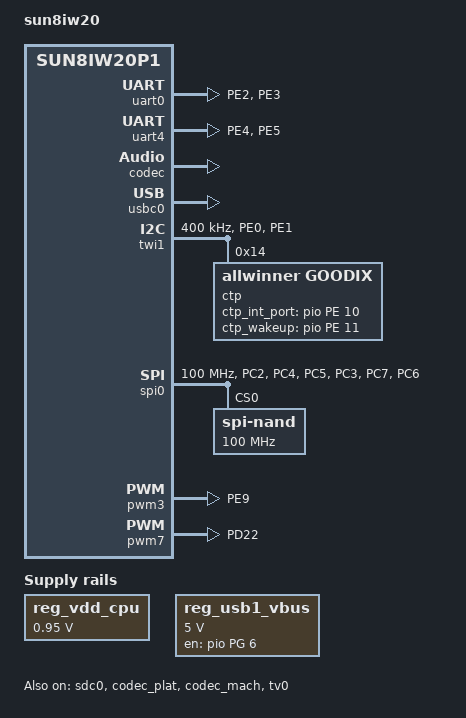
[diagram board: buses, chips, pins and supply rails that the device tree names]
/*
 * Allwinner Technology CO., Ltd.
 */

/dts-v1/;

#include "sun8iw20p1.dtsi"

/{
	model = "sun8iw20";
	compatible = "allwinner,t113", "arm,sun8iw20p1";

	reserved-memory {
		#address-cells = <2>;
		#size-cells = <2>;
		ranges;

/*
		dsp0_rpbuf_reserved: dsp0_rpbuf@42244000 {
			compatible = "shared-dma-pool";
			no-map;
			reg = <0x0 0x42244000 0x0 0x8000>;
		};

		dsp0ddr: dsp0ddr@42000000 {
			reg = <0x0 0x42000000 0x0 0x00100000>;
			no-map;
		};
*/

		/*
		 * The name should be "vdev%dbuffer".
		 * Its size should be not less than
		 *     RPMSG_BUF_SIZE * (num of buffers in a vring) * 2
		 *   = 512 * (num of buffers in a vring) * 2
		 */
/*
		vdev0buffer: vdev0buffer@42200000 {
			compatible = "shared-dma-pool";
			reg = <0x0 0x42200000 0x0 0x40000>;
			no-map;
		};
*/

		/*
		 * The name should be "vdev%dvring%d".
		 * The size of each should be not less than
		 *     PAGE_ALIGN(vring_size(num, align))
		 *   = PAGE_ALIGN(16 * num + 6 + 2 * num + (pads for align) + 6 + 8 * num)
		 *
		 * (Please refer to the vring layout in include/uapi/linux/virtio_ring.h)
		 */
/*
		vdev0vring0: vdev0vring0@42240000 {
			reg = <0x0 0x42240000 0x0 0x2000>;
			no-map;
		};
		vdev0vring1: vdev0vring1@42242000 {
			reg = <0x0 0x42242000 0x0 0x2000>;
			no-map;
		};
*/

		/*
		* dsp ram addr
		*/
/*
		dsp0dram: dsp0dram@400000 {
			reg = <0x0 0x400000 0x0 0x10000>;
			no-map;
		};
		dsp0iram0: dsp0iram0@420000 {
			reg = <0x0 0x420000 0x0 0x8000>;
			no-map;
		};
		dsp0iram1: dsp0iram1@440000 {
			reg = <0x0 0x440000 0x0 0x8000>;
			no-map;
		};
		dsp_share_space@42100000 {
			no-map;
			reg = <0x0 0x42100000 0x0 0x10000>;
		};
*/

	};

	mailbox_heartbeat: mailbox_heartbeat@0 {
		compatible = "mailbox-heartbeat";
		rproc-np = <&dsp0_rproc>;
		mboxes = <&msgbox 2>, <&msgbox 3>;
		mbox-names = "tx", "rx";
		status = "disabled";
	};

	dsp0_rproc: dsp_rproc@0 {
		compatible = "allwinner,hifi4-rproc", "simple-bus";
		clock-frequency = <600000000>;
		clocks = <&ccu CLK_PLL_PERIPH0_2X>, <&ccu CLK_DSP>, <&ccu CLK_BUS_DSP_CFG>, <&r_ccu CLK_R_AHB>;
		clock-names = "pll", "mod", "cfg", "ahbs";
		resets = <&ccu RST_BUS_DSP>, <&ccu RST_BUS_DSP_CFG>, <&ccu RST_BUS_DSP_DBG>;
		reset-names = "mod-rst", "cfg-rst", "dbg-rst";
		reg = <0x0 0x03000008 0x0 0x04>,
		      <0x0 0x01700000 0x0 0x40>;
		reg-names = "sram-for-cpux", "hifi4-cfg";
		mboxes = <&msgbox 0>;
		mbox-names = "arm-kick";
		/*memory-region = <&dsp0ddr>, <&vdev0buffer>, <&vdev0vring0>, <&vdev0vring1>,*/
				/*<&dsp0dram>, <&dsp0iram0>, <&dsp0iram1>;*/
		memory-mappings =
			/* < DA		len		PA >	*/
			/* local SRAM via external bus */
			< 0x28000	0x20000		0x28000 >,
			/* local SRAM via internal bus */
			< 0x400000	0x10000		0x400000 >,
			< 0x420000	0x8000		0x420000 >,
			< 0x440000	0x8000		0x440000 >,
			/* DDR front 256MB */
			< 0x10000000	0x10000000	0x40000000 >,
			/* local SRAM via internal bus */
			< 0x20028000	0x10000		0x400000 >,
			< 0x20038000	0x8000		0x420000 >,
			< 0x20040000	0x8000		0x440000 >,
			/* DDR front 256MB */
			< 0x30000000	0x10000000	0x40000000 >,
			/* DDR front 1GB */
			< 0x40000000	0x40000000	0x40000000 >,
			/* DDR front 1GB */
			< 0x80000000	0x40000000	0x40000000 >,
			/* DDR front 1GB */
			< 0xC0000000	0x40000000	0x40000000 >;

		id = <0>;
		status = "disabled";

		/* driver config in dts for dsp0 */
		dsp0_system_resources: dsp_system_resources@0 {
			compatible = "allwinner,dsp-rproc-srm-core";
			status = "disabled";

			d_console_uart: d_console_uart@0 {
				compatible = "allwinner,dsp-rproc-srm-dev";
				status = "disabled";
			};

			d_gpio_interrupt: d_gpio_interrupt@0 {
				compatible = "allwinner,dsp-rproc-srm-dev";
				status = "disabled";
			};

			d_alsa_rpaf: d_alsa_rpaf@0 {
				compatible = "allwinner,dsp-rproc-srm-dev";
				status = "disabled";
			};
		};
	};

	rpbuf_controller0: rpbuf_controller@0 {
		compatible = "allwinner,rpbuf-controller";
		remoteproc = <&dsp0_rproc>;
		ctrl_id = <0>;	/* index of /dev/rpbuf_ctrl */
		//iommus = <&mmu_aw 5 1>;
		/*memory-region = <&dsp0_rpbuf_reserved>;*/
		status = "disabled";
	};

	rpbuf_sample: rpbuf_sample@0 {
		compatible = "allwinner,rpbuf-sample";
		rpbuf = <&rpbuf_controller0>;
		status = "disabled";
	};

	reg_vdd_cpu: vdd-cpu {
		compatible = "regulator-fixed";
		regulator-name = "vdd_cpu";
		regulator-min-microvolt = <950000>;
		regulator-max-microvolt = <950000>;
		regulator-always-on;
		regulator-boot-on;
		status = "okay";
	};

	reg_usb1_vbus: usb1-vbus {
		compatible = "regulator-fixed";
		regulator-name = "usb1-vbus";
		regulator-min-microvolt = <5000000>;
		regulator-max-microvolt = <5000000>;
		regulator-enable-ramp-delay = <1000>;
		gpio = <&pio PG 6 GPIO_ACTIVE_HIGH>;
		enable-active-high;
	};
};

&cpu0 {
	cpu-supply = <&reg_vdd_cpu>;
};

&pio {
	input-debounce = <0 0 0 0 0 1>;
	sdc0_pins_a: sdc0@0 {
		allwinner,pins = "PF1", "PF2", "PF3";
		allwinner,function = "sdc0";
		allwinner,muxsel = <2>;
		allwinner,drive = <3>;
		allwinner,pull = <1>;
		pins = "PF1", "PF2", "PF3";
		function = "sdc0";
		drive-strength = <30>;
		bias-pull-up;
		power-source = <3300>;
	};


	sdc0_pins_b: sdc0@1 {
		pins = "PF1", "PF2", "PF3";
		function = "sdc0";
		drive-strength = <30>;
		bias-pull-up;
		power-source = <1800>;
	};

	sdc0_pins_c: sdc0@2 {
		pins = "PF1", "PF2", "PF3";
		function = "gpio_in";
	};

	/* TODO: add jtag pin */
	sdc0_pins_d: sdc0@3 {
		pins = "PF2", "PF4";
		function = "uart0";
		drive-strength = <10>;
		bias-pull-up;
	};

	sdc0_pins_e: sdc0@4 {
		pins = "PF0", "PF1", "PF3",
			"PF5";
		function = "jtag";
		drive-strength = <10>;
		bias-pull-up;
	};


	sdc1_pins_a: sdc1@0 {
		pins = "PG0", "PG1", "PG2",
		       "PG3", "PG4", "PG5";
		function = "sdc1";
		drive-strength = <20>;
		bias-pull-up;
	};

	sdc1_pins_b: sdc1@1 {
		pins = "PG0", "PG1", "PG2",
		       "PG3", "PG4", "PG5";
			function = "gpio_in";
	};

	sdc2_pins_a: sdc2@0 {
		allwinner,pins = "PC2", "PC3", "PC4",
				 "PC5", "PC6", "PC7";
		allwinner,function = "sdc2";
		allwinner,muxsel = <3>;
		allwinner,drive = <3>;
		allwinner,pull = <1>;
		pins = "PC2", "PC3", "PC4",
			"PC5", "PC6", "PC7";
		function = "sdc2";
		drive-strength = <30>;
		bias-pull-up;
	};

	sdc2_pins_b: sdc2@1 {
		pins = "PC2", "PC3", "PC4",
		       "PC5", "PC6", "PC7";
		function = "gpio_in";
	};

	wlan_pins_a:wlan@0 {
		pins = "PG11";
		function = "clk_fanout1";
	};

        uart0_pins_a: uart0_pins@0 {  /* For EVB1 board */
		pins = "PE2", "PE3";
                function = "uart0";
                drive-strength = <10>;
                bias-pull-up;
        };

        uart0_pins_b: uart0_pins@1 {  /* For EVB1 board */
		pins = "PE2", "PE3";
                function = "gpio_in";
        };

	uart1_pins_a: uart1_pins@0 {  /* For EVB1 board */
		pins = "PG6", "PG7", "PG8", "PG9";
		function = "uart1";
		drive-strength = <10>;
		bias-pull-up;
	};

	uart1_pins_b: uart1_pins {  /* For EVB1 board */
		pins = "PG6", "PG7", "PG8", "PG9";
		function = "gpio_in";
	};

	uart2_pins_a: uart2_pins@0 {  /* For EVB1 board */
		pins = "PC0", "PC1";
		function = "uart2";
		drive-strength = <10>;
		bias-pull-up;
	};

	uart2_pins_b: uart2_pins@1 {  /* For EVB1 board */
		pins = "PC0", "PC1";
		function = "gpio_in";
	};

	uart3_pins_a: uart3_pins@0 {  /* For EVB1 board */
		pins = "PD10", "PD11";
		function = "uart3";
		muxsel = <5>;
		drive-strength = <10>;
		bias-pull-up;
	};

	uart4_pins_a: uart4_pins@0 {
		pins = "PE4", "PE5";
		function = "uart4";
		drive-strength = <10>;
		bias-pull-up;
	};

	uart4_pins_b: uart4_pins@1 {
		pins = "PE4", "PE5";
		function = "gpio_in";
	};

	twi0_pins_a: twi0@0 {
		pins = "PB10", "PB11";	/*sck sda*/
		function = "twi0";
		drive-strength = <10>;
	};

	twi0_pins_b: twi0@1 {
		pins = "PB10", "PB11";
		function = "gpio_in";
	};

	twi1_pins_a: twi1@0 {
		pins = "PE0", "PE1";
		function = "twi1";
		drive-strength = <10>;
	};

	twi1_pins_b: twi1@1 {
		pins = "PE0", "PE1";
		function = "gpio_in";
	};

        twi2_pins_a: twi2@0 {
                pins = "PE12", "PE13";
                function = "twi2";
                drive-strength = <10>;
        };

        twi2_pins_b: twi2@1 {
                pins = "PE12", "PE13";
                function = "gpio_in";
        };

	twi3_pins_a: twi3@0 {
		pins = "PE6", "PE7";
		function = "twi3";
		drive-strength = <10>;
	};

	twi3_pins_b: twi3@1 {
		pins = "PE6", "PE7";
		function = "gpio_in";
	};

	gmac_pins_a: gmac@0 {
		pins = "PE0", "PE1", "PE2", "PE3",
		       "PE4", "PE5", "PE6", "PE7",
		       "PE8", "PE9", "PE10", "PE11",
		       "PE12", "PE13", "PE14", "PE15";
		function = "gmac0";
		drive-strength = <10>;
	};

	gmac_pins_b: gmac@1 {
		pins = "PE0", "PE1", "PE2", "PE3",
		       "PE4", "PE5", "PE6", "PE7",
		       "PE8", "PE9", "PE10", "PE11",
		       "PE12", "PE13", "PE14", "PE15";
		function = "gpio_in";
	};

	dmic_pins_a: dmic@0 {
		/* DMIC_PIN: CLK, DATA0, DATA1, DATA2, DATA3*/
		pins = "PB12", "PB11", "PB10", "PE14", "PB8";
		function = "dmic";
		drive-strength = <20>;
		bias-disable;
	};

	dmic_pins_b: dmic@1 {
		pins = "PB12", "PB11", "PB10", "PE14", "PB8";
		function = "io_disabled";
		drive-strength = <20>;
		bias-disable;
	};

	i2s0_pins_a: i2s0@0 {
		pins = "PE17", "PE16", "PE15", "PE14", "PE13";
		function = "i2s0";
		drive-strength = <20>;
		bias-disable;
	};

	i2s0_pins_b: i2s0_sleep@0 {
		pins = "PE17", "PE16", "PE15", "PE14", "PE13";
		function = "io_disabled";
		drive-strength = <20>;
		bias-disable;
	};

	i2s1_pins_a: i2s1@0 {
		pins = "PG11", "PG12", "PG13", "PG14", "PG15";
		function = "i2s1";
		drive-strength = <20>;
		bias-disable;
	};

	i2s1_pins_b: i2s1_sleep@0 {
		pins = "PG11", "PG12", "PG13", "PG14", "PG15";
		function = "io_disabled";
		drive-strength = <20>;
		bias-disable;
	};

	i2s2_pins_a: i2s2@0 {
		/* I2S_PIN: MCLK, BCLK, LRCK */
		pins = "PF6", "PF3", "PF5";
		function = "i2s2";
		drive-strength = <20>;
		bias-disable;
	};

	i2s2_pins_b: i2s2@1 {
		/* I2S_PIN: DOUT0 */
		pins = "PF1";
		function = "i2s2_dout";
		drive-strength = <20>;
		bias-disable;
	};

	i2s2_pins_c: i2s2@2 {
		/* I2S_PIN: DIN0 */
		pins = "PF0";
		function = "i2s2_din";
		drive-strength = <20>;
		bias-disable;
	};

	i2s2_pins_d: i2s2_sleep@0 {
		pins = "PF6", "PF3", "PF5", "PF1", "PF0";
		function = "io_disabled";
		drive-strength = <20>;
		bias-disable;
	};

	owa_pins_a: owa@0 {
		/* SPDIF_PIN: SPDIF_OUT */
		pins = "PG18";
		function = "spdif";
		drive-strength = <20>;
		bias-disable;
	};

	owa_pins_b: owa_sleep@0 {
		pins = "PG18";
		function = "io_disabled";
		drive-strength = <20>;
		bias-disable;
	};

	spi0_pins_a: spi0@0 {
		pins = "PC2", "PC4", "PC5"; /* clk, mosi, miso */
		function = "spi0";
		muxsel = <2>;
		drive-strength = <20>;
	};

	spi0_pins_b: spi0@1 {
		pins = "PC3", "PC7", "PC6";
		function = "spi0";
		muxsel = <2>;
		drive-strength = <20>;
		bias-pull-up;   /* cs, hold, wp should be pulled up */
	};

	spi0_pins_c: spi0@2 {
		pins = "PC2", "PC3", "PC4", "PC5","PC6", "PC7";
		function = "gpio_in";
		muxsel = <0>;
		drive-strength = <10>;
	};

	spi1_pins_a: spi1@0 {
		pins = "PD11", "PD12", "PD13"; /* clk, mosi, miso */
		function = "spi1";
		drive-strength = <10>;
	};

	spi1_pins_b: spi1@1 {
		pins = "PD10", "PD14", "PD15";
		function = "spi1";
		drive-strength = <10>;
		bias-pull-up;   /* cs, hold, wp should be pulled up */
	};

	spi1_pins_c: spi1@2 {
		pins = "PD10", "PD11", "PD12", "PD13","PD14", "PD15";
		function = "gpio_in";
		drive-strength = <10>;
	};

	ledc_pins_a: ledc@0 {
		pins = "PC0";
		function = "ledc";
		drive-strength = <10>;
	};

	ledc_pins_b: ledc@1 {
		pins = "PC0";
		function = "gpio_in";
	};

	pwm0_pin_a: pwm0@0 {
		pins = "PD16";
		function = "pwm0";
		drive-strength = <10>;
		bias-pull-up;
	};

	pwm0_pin_b: pwm0@1 {
		pins = "PD16";
		function = "gpio_in";
		bias-disable;
	};

	pwm2_pin_a: pwm2@0 {
		pins = "PD18";
		function = "pwm2";
		drive-strength = <10>;
		bias-pull-up;
	};

	pwm2_pin_b: pwm2@1 {
		pins = "PD18";
		function = "gpio_out";
	};

	pwm3_pin_a: pwm3@0 {
		pins = "PE9";
		function = "pwm3";
		drive-strength = <10>;
		bias-pull-up;
	};

	pwm3_pin_b: pwm3@1 {
		pins = "PE9";
		function = "gpio_out";
	};

	pwm7_pin_a: pwm7@0 {
		pins = "PD22";
		function = "pwm7";
		muxsel = <0x5>;
		drive-strength = <10>;
		bias-pull-up;
	};

	pwm7_pin_b: pwm7@1 {
		pins = "PD22";
		function = "gpio_in";
	};


	s_cir0_pins_a: s_cir@0 {
		pins = "PB7";
		function = "ir";
		drive-strength = <10>;
		bias-pull-up;
	};

	s_cir0_pins_b: s_cir@1 {
		pins = "PB7";
		function = "gpio_in";
	};

	ir1_pins_a: ir1@0 {
		pins = "PB0";
		function = "ir";
		drive-strength = <10>;
		bias-pull-up;
	};

	ir1_pins_b: ir1@1 {
		pins = "PB0";
		function = "gpio_in";
	};

	csi0_pins_a: csi0@0 {
		pins = "PE2", "PE4", "PE5",
				"PE6", "PE7", "PE8", "PE9", "PE10", "PE11";
		function = "ncsi0";
		drive-strength = <10>;
	};

	csi0_pins_b: csi0@1 {
		pins = "PE2", "PE4", "PE5",
				"PE6", "PE7", "PE8", "PE9", "PE10", "PE11";
		function = "io_disabled";
		drive-strength = <10>;
	};
};

&uart0 {
	pinctrl-names = "default", "sleep";
	pinctrl-0 = <&uart0_pins_a>;
	pinctrl-1 = <&uart0_pins_b>;
	status = "okay";
};

&uart1 {
	pinctrl-names = "default", "sleep";
	pinctrl-0 = <&uart1_pins_a>;
	pinctrl-1 = <&uart1_pins_b>;
	status = "disabled";
};

&uart2 {
	pinctrl-names = "default", "sleep";
	pinctrl-0 = <&uart2_pins_a>;
	pinctrl-1 = <&uart2_pins_b>;
	status = "disabled";
};

&uart3 {
	compatible = "allwinner,sun20iw1-dsp-uart";
	pinctrl-names = "default", "sleep";
	pinctrl-0 = <&uart3_pins_a>;
	pinctrl-1 = <&uart3_pins_a>;
	status = "disabled";
};

&uart4 {
	pinctrl-names = "default", "sleep";
	pinctrl-0 = <&uart4_pins_a>;
	pinctrl-1 = <&uart4_pins_b>;
	status = "okay";
};

&soc {
	card0_boot_para@2 {
		/*
		 * Avoid dtc compiling warnings.
		 * @TODO: Developer should modify this to the actual value
		 */
		reg = <0x0 0x2 0x0 0x0>;
		device_type = "card0_boot_para";
		card_ctrl = <0x0>;
		card_high_speed = <0x1>;
		card_line = <0x1>;
		pinctrl-0 = <&sdc0_pins_a>;
	};

	card2_boot_para@3 {
		/*
		 * Avoid dtc compiling warnings.
		 * @TODO: Developer should modify this to the actual value
		 */
		reg = <0x0 0x3 0x0 0x0>;
		device_type = "card2_boot_para";
		card_ctrl = <0x2>;
		card_high_speed = <0x1>;
		card_line = <0x4>;
		pinctrl-0 = <&sdc2_pins_a>;
		/*pinctrl-0 = <&sdc0_pins_a>;*/
		/*sdc_ex_dly_used = <0x2>;*/
		sdc_io_1v8 = <0x1>;
		/*sdc_type = "tm4";*/
		sdc_tm4_hs200_max_freq = <150>;
		sdc_tm4_hs400_max_freq = <100>;
		sdc_ex_dly_used = <2>;
		/*sdc_tm4_win_th = <8>;*/
		/*sdc_dis_host_caps = <0x180>;*/
	};

	rfkill: rfkill@0 {
		compatible    = "allwinner,sunxi-rfkill";
		chip_en;
		power_en;
		pinctrl-0 = <&wlan_pins_a>;
		pinctrl-names = "default";
		status        = "disabled";

		wlan: wlan@0 {
			compatible    = "allwinner,sunxi-wlan";
			clock-names = "32k-fanout1";
			clocks = <&ccu CLK_FANOUT1_OUT>;
			wlan_busnum    = <0x1>;
			wlan_regon    = <&pio PE 3 GPIO_ACTIVE_HIGH>;
			wlan_hostwake  = <&pio PG 10 GPIO_ACTIVE_HIGH>;
			/*wlan_power    = "VCC-3V3";*/
			/*wlan_power_vol = <3300000>;*/
			/*interrupt-parent = <&pio>;
			interrupts = < PG 10 IRQ_TYPE_LEVEL_HIGH>;*/
			wakeup-source;

		};

		bt: bt@0 {
			compatible    = "allwinner,sunxi-bt";
			clock-names = "32k-fanout1";
			clocks = <&ccu CLK_FANOUT1_OUT>;
			/*bt_power_num = <0x01>;*/
			/*bt_power      = "axp803-dldo1";*/
			/*bt_io_regulator = "axp803-dldo1";*/
			/*bt_io_vol = <3300000>;*/
			/*bt_power_vol = <330000>;*/
			bt_rst_n      = <&pio PE 2 GPIO_ACTIVE_LOW>;
			status        = "okay";
		};
	};

	btlpm: btlpm@0 {
		compatible  = "allwinner,sunxi-btlpm";
		uart_index  = <0x1>;
		bt_wake     = <&pio PE 1 GPIO_ACTIVE_HIGH>;
		bt_hostwake = <&pio PE 0 GPIO_ACTIVE_HIGH>;
		status      = "disabled";
	};

	addr_mgt: addr_mgt@0 {
		compatible     = "allwinner,sunxi-addr_mgt";
		type_addr_wifi = <0x0>;
		type_addr_bt   = <0x0>;
		type_addr_eth  = <0x0>;
		status         = "disabled";
	};
};


&vind0 {
	status = "disabled";
};

&sdc2 {
	non-removable;
	bus-width = <4>;
	mmc-ddr-1_8v;
	mmc-hs200-1_8v;
	no-sdio;
	no-sd;
	ctl-spec-caps = <0x308>;
	cap-mmc-highspeed;
	sunxi-power-save-mode;
	sunxi-dis-signal-vol-sw;
	mmc-bootpart-noacc;
	max-frequency = <150000000>;
	/*vmmc-supply = <&reg_dcdc1>;*/
	/*emmc io vol 3.3v*/
	/*vqmmc-supply = <&reg_aldo1>;*/
	/*emmc io vol 1.8v*/
	/*vqmmc-supply = <&reg_eldo1>;*/
	status = "disabled";
};

&sdc0 {
	bus-width = <1>;
	cd-gpios = <&pio PF 6 (GPIO_ACTIVE_LOW | GPIO_PULL_UP)>;
	/*non-removable;*/
	/*broken-cd;*/
	/*cd-inverted;*/
	/*data3-detect;*/
	/*card-pwr-gpios = <&pio PH 14 1 1 2 0xffffffff>;*/
	cd-used-24M;
	cap-sd-highspeed;
	/*sd-uhs-sdr50;*/
	/*sd-uhs-ddr50;*/
	/*sd-uhs-sdr104;*/
	no-sdio;
	no-mmc;
	sunxi-power-save-mode;
	/*sunxi-dis-signal-vol-sw;*/
	max-frequency = <150000000>;
	ctl-spec-caps = <0x8>;
	/*vmmc-supply = <&reg_dcdc1>;*/
	/*vqmmc33sw-supply = <&reg_dcdc1>;*/
	/*vdmmc33sw-supply = <&reg_dcdc1>;*/
	/*vqmmc18sw-supply = <&reg_eldo1>;*/
	/*vdmmc18sw-supply = <&reg_eldo1>;*/
	status = "okay";
};

&sdc1 {
	bus-width = <4>;
	no-mmc;
	no-sd;
	cap-sd-highspeed;
	/*sd-uhs-sdr12*/
	/*sd-uhs-sdr25;*/
	/*sd-uhs-sdr50;*/
	/*sd-uhs-ddr50;*/
	/*sd-uhs-sdr104;*/
	/*sunxi-power-save-mode;*/
	/*sunxi-dis-signal-vol-sw;*/
	cap-sdio-irq;
	keep-power-in-suspend;
	ignore-pm-notify;
	max-frequency = <150000000>;
	ctl-spec-caps = <0x8>;
	status = "disabled";
};


/*
tvd configuration
used                   (create device, 0: do not create device, 1: create device)
agc_auto_enable        (0: agc manual mode,agc_manual_value is valid; 1: agc auto mode)
agc_manual_value       (agc manual value, default value is 64)
cagc_enable            (cagc        0: disable, 1: enable)
fliter_used            (3d fliter   0: disable, 1: enable)
support two PMU power  (tvd_power0, tvd_power1)
support two GPIO power (tvd_gpio0, tvd_gpio1)
NOTICE: If tvd need pmu power or gpio power,params need be configured under [tvd]
tvd_sw                 (the switch of all tvd driver.)
tvd_interface          (0: cvbs, 1: ypbpr,)
tvd_format             (0:TVD_PL_YUV420 , 1: MB_YUV420, 2: TVD_PL_YUV422)
tvd_system             (0:ntsc, 1:pal)
tvd_row                (total row number in multi channel mode 1-2)
tvd_column             (total column number in multi channel mode 1-2)
tvd_channelx_en        (0:disable, 1~4:position in multi channel mode,In single channel
                       mode,mean enable)
tvd_row*tvd_column is the total tvd channel number to be used in multichannel mode
+--------------------+--------------------+
|                    |                    |
|                    |                    |
|         1          |         2          |
|                    |                    |
|                    |                    |
+--------------------+--------------------+
|                    |                    |
|                    |                    |
|         3          |         4          |
|                    |                    |
|                    |                    |
+--------------------+--------------------+
*/

&tvd {
	tvd_sw          = <1>;
	tvd_interface   = <0>;
	tvd_format      = <0>;
	tvd_system      = <1>;
	tvd_row         = <1>;
	tvd_column      = <1>;
	tvd_channel0_en = <1>;
	tvd_channel1_en = <0>;
	tvd_channel2_en = <0>;
	tvd_channel3_en = <0>;
	/*tvd_gpio0 = <&pio PD 22 GPIO_ACTIVE_HIGH>;*/
	/*tvd_gpio1 = <&pio PD 23 GPIO_ACTIVE_HIGH>;*/
	/*tvd_gpio2 = <&pio PD 24 GPIO_ACTIVE_HIGH>;*/
	/*	dc1sw-supply = <&reg_dc1sw>;*/
	/*	eldo3-supply = <&reg_eldo3>;*/
	/*tvd_power0      = "dc1sw"*/
	/*tvd_power1      = "eldo3"*/
};

&tvd0 {
	used                    = <1>;
	agc_auto_enable         = <1>;
	agc_manual_value        = <64>;
	cagc_enable             = <1>;
	fliter_used             = <1>;
};

/* Audio Driver modules */
&i2s0_plat {
	tdm-num		= <0>;
	tx-pin		= <0>;
	rx-pin		= <0>;
	/*pinctrl-used;
	pinctrl-names	= "default","sleep";
	pinctrl-0	= <&i2s0_pins_a>;
	pinctrl-1	= <&i2s0_pins_b>; */
	tx-hub-en;
	rx-sync-en;
	status		= "disabled";
};

&i2s0_mach {
	soundcard-mach,format		= "i2s";
	soundcard-mach,frame-master	= <&i2s0_cpu>;
	soundcard-mach,bitclock-master	= <&i2s0_cpu>;
	/* soundcard-mach,frame-inversion; */
	/* soundcard-mach,bitclock-inversion; */
	soundcard-mach,slot-num		= <2>;
	soundcard-mach,slot-width	= <32>;
	soundcard-mach,capture-only;
	status		= "disabled";
	i2s0_cpu: soundcard-mach,cpu {
		sound-dai = <&i2s0_plat>;
		soundcard-mach,pll-fs	= <1>;
		soundcard-mach,mclk-fs	= <0>;
	};
	i2s0_codec: soundcard-mach,codec {
	};
};

&i2s1_plat {
	tdm-num		= <1>;
	tx-pin		= <0>;
	rx-pin		= <0>;
	/* pinctrl-used; */
	/* pinctrl-names= "default","sleep"; */
	/* pinctrl-0	= <&i2s1_pins_a>; */
	/* pinctrl-1	= <&i2s1_pins_b>; */
	tx-hub-en;
	rx-sync-en;
	status		= "disabled";
};

&i2s1_mach {
	soundcard-mach,format		= "i2s";
	soundcard-mach,frame-master	= <&i2s1_cpu>;
	soundcard-mach,bitclock-master	= <&i2s1_cpu>;
	/* soundcard-mach,frame-inversion; */
	/* soundcard-mach,bitclock-inversion; */
	soundcard-mach,slot-num		= <2>;
	soundcard-mach,slot-width	= <32>;
	status		= "disabled";
	i2s1_cpu: soundcard-mach,cpu {
		sound-dai = <&i2s1_plat>;
		soundcard-mach,pll-fs	= <1>;
		soundcard-mach,mclk-fs	= <0>;
	};
	i2s1_codec: soundcard-mach,codec {
	};
};

&i2s2_plat {
	tdm-num		= <2>;
	tx-pin		= <0 1 2 3>;
/* e.g.
 * tx-pin0-map0 = <0xFEDC3210> -> tx_pin_map[0][0] (Dout0-slot[7:0]  map channel[15:12, 3:0])
 * tx-pin0-map1 = <0x3210FEDC> -> tx_pin_map[0][1] (Dout0-slot[15:8] map channel[3:0, 15:12])
 * tx-pin1-map0 = <0x76543210> -> tx_pin_map[1][0] (Dout1-slot[7:0]  map channel[7:0])
 */
	tx-pin0-map0	= <0x76543210>;
	tx-pin0-map1	= <0xFEDCBA98>;
	tx-pin1-map0	= <0x76543210>;
	tx-pin1-map1	= <0xFEDCBA98>;
	tx-pin2-map0	= <0x76543210>;
	tx-pin2-map1	= <0xFEDCBA98>;
	tx-pin3-map0	= <0x76543210>;
	tx-pin3-map1	= <0xFEDCBA98>;
	rx-pin		= <0>;
	/* pinctrl-used; */
	/* pinctrl-names= "default","sleep"; */
	/* pinctrl-0	= <&i2s2_pins_a>; */
	/* pinctrl-1	= <&i2s2_pins_b>; */
	tx-hub-en;
	rx-sync-en;
	/* edp not need dai-type */
	dai-type = "hdmi";
	status		= "disabled";
};

&i2s2_mach {
	soundcard-mach,format		= "i2s";
	soundcard-mach,frame-master	= <&i2s2_cpu>;
	soundcard-mach,bitclock-master	= <&i2s2_cpu>;
	/* soundcard-mach,frame-inversion; */
	/* soundcard-mach,bitclock-inversion; */
	soundcard-mach,slot-num		= <2>;
	soundcard-mach,slot-width	= <32>;
	soundcard-mach,playback-only;
	status		= "disabled";
	i2s2_cpu: soundcard-mach,cpu {
		sound-dai = <&i2s2_plat>;
		soundcard-mach,pll-fs	= <1>;
		/* edp mclk: 512fs */
		soundcard-mach,mclk-fs	= <0>;
	};
	i2s2_codec: soundcard-mach,codec {
		/* sound-dai               = <&hdmi_codec>; */
	};
};

&codec {
	/* avcc-external; */
	tx-hub-en;
	rx-sync-en;

	dac-vol		= <63>;		/* default value:63 range:0->63 */
	dacl-vol	= <160>;	/* default value:160 range:0->255 */
	dacr-vol	= <160>;	/* default value:160 range:0->255 */
	adc1-vol	= <160>;	/* default value:160 range:0->255 */
	adc2-vol	= <160>;	/* default value:160 range:0->255 */
	adc3-vol	= <160>;	/* default value:160 range:0->255 */
	lineout-vol	= <26>;		/* default value:31 range:0->31 */
	adc1-gain	= <31>;		/* default value:31 range:0->31 */
	adc2-gain	= <31>;		/* default value:31 range:0->31 */
	adc3-gain	= <31>;		/* default value:31 range:0->31 */
	hpout-gain	= <3>;		/* default value:7 range:0->7 */
	fminl-gain	= <0>;		/* default value:0 range:0->1 */
	fminr-gain	= <0>;		/* default value:0 range:0->1 */
	lineinl-gain	= <0>;		/* default value:0 range:0->1 */
	lineinr-gain	= <0>;		/* default value:0 range:0->1 */

       pa-pin-max	= <1>;

/*	pa-pin-0	= <&pio PB 7 GPIO_ACTIVE_HIGH>; */
	pa-pin-level-0	= <1>;
	pa-pin-msleep-0	= <100>;
    status = "okay";
};

&codec_plat {
	status = "okay";
};

&codec_mach {
	soundcard-mach,jack-support = <1>;
	status = "okay";
	soundcard-mach,cpu {
		sound-dai = <&codec_plat>;
	};
	soundcard-mach,codec {
		sound-dai = <&codec>;
    };
};

&dmic_plat {
	rx-chmap	= <0x76543210>;
	data-vol	= <0xB0>;
	rxdelaytime	= <0>;
	/* pinctrl-used; */
	/* pinctrl-names	= "default","sleep"; */
	/* pinctrl-0	= <&dmic_pins_a>; */
	/* pinctrl-1	= <&dmic_pins_b>; */
	rx-sync-en;
	status		= "disabled";
};

&dmic_mach {
	status		= "disabled";
	soundcard-mach,cpu {
		sound-dai = <&dmic_plat>;
	};
	soundcard-mach,codec {
	};
};

&owa_plat {
	/* pinctrl-used; */
	/* pinctrl-names	= "default","sleep"; */
	/* pinctrl-0	= <&owa_pins_a>; */
	/* pinctrl-1	= <&owa_pins_b>; */
	tx-hub-en;
	status		= "disabled";
};

&owa_mach {
	status		= "disabled";
	soundcard-mach,cpu {
		sound-dai = <&owa_plat>;
	};
	soundcard-mach,codec {
	};
};

/* end Audio Driver modules */



/*
 *usb_port_type: usb mode. 0-device, 1-host, 2-otg.
 *usb_detect_type: usb hotplug detect mode. 0-none, 1-vbus/id detect, 2-id/dpdm detect.
 *usb_detect_mode: 0-thread scan, 1-id gpio interrupt.
 *usb_id_gpio: gpio for id detect.
 *usb_det_vbus_gpio: gpio for id detect. gpio or "axp_ctrl";
 *usb_wakeup_suspend：0-SUPER_STANDBY, 1-USB_STANDBY.
 */
&usbc0 {
	device_type = "usbc0";
	usb_port_type = <0x2>;
	usb_detect_type = <0x1>;
	usb_detect_mode = <0>;
	/*usb_id_gpio = <&pio PB 6 GPIO_ACTIVE_HIGH>;*/
	enable-active-high;
	/*usb_det_vbus_gpio = <&pio PB 2 GPIO_ACTIVE_HIGH>;*/
	usb_wakeup_suspend = <0>;
	usb_serial_unique = <0>;
	usb_serial_number = "20080411";
	rndis_wceis = <1>;
	status = "okay";
};

&ehci0 {
	drvvbus-supply = <&reg_usb1_vbus>;
};

&ohci0 {
	drvvbus-supply = <&reg_usb1_vbus>;
};

&usbc1 {
	device_type = "usbc1";
    usb_port_type = <0x01>;
    sb_detect_type = <0x1>;	
	usb_regulator_io = "nocare";
	usb_wakeup_suspend = <0>;
	status = "disabled";
};

&ehci1 {
	drvvbus-supply = <&reg_usb1_vbus>;
	status = "disabled";
};

&ohci1 {
	drvvbus-supply = <&reg_usb1_vbus>;
	status = "disabled";
};

&twi0 {
	clock-frequency = <400000>;
	pinctrl-0 = <&twi0_pins_a>;
	pinctrl-1 = <&twi0_pins_b>;
	pinctrl-names = "default", "sleep";
	status = "disabled";

	eeprom@50 {
		compatible = "atmel,24c16";
		reg = <0x50>;
		status = "disabled";
	};
};

&twi1 {
	clock-frequency = <400000>;
	pinctrl-0 = <&twi1_pins_a>;
	pinctrl-1 = <&twi1_pins_b>;
	pinctrl-names = "default", "sleep";
	status = "okay";

	ctp@14 {
                compatible = "allwinner,goodix";
                device_type = "ctp";
                reg = <0x14>;
                status = "okay";
                ctp_name = "gt9xxnew_ts";
                ctp_twi_id = <0x2>;
                ctp_twi_addr = <0x14>;
                ctp_screen_max_x = <0x320>;
                ctp_screen_max_y = <0x1e0>;
                ctp_revert_x_flag = <0x0>;
                ctp_revert_y_flag = <0x0>;
                ctp_exchange_x_y_flag = <0x0>;
                ctp_int_port = <&pio PE 10 GPIO_ACTIVE_HIGH>;
                ctp_wakeup = <&pio PE 11 GPIO_ACTIVE_HIGH>;
                /*ctp-supply = <&reg_aldo2>;*/
                /*ctp_power_ldo = <&reg_aldo2>;*/
                /*ctp_power_ldo_vol = <3300>;*/
	};
};

&twi2 {
	clock-frequency = <400000>;
	pinctrl-0 = <&twi2_pins_a>;
	pinctrl-1 = <&twi2_pins_b>;
	pinctrl-names = "default", "sleep";
	/*dmas = <&dma 45>, <&dma 45>;*/
	/*dma-names = "tx", "rx";*/
	status = "disabled";
};

&twi3 {
	clock-frequency = <400000>;
	pinctrl-0 = <&twi3_pins_a>;
	pinctrl-1 = <&twi3_pins_b>;
	pinctrl-names = "default", "sleep";
	status = "disabled";
};

&gmac0 {
	phy-mode = "rgmii";
	use_ephy25m = <1>;
	pinctrl-0 = <&gmac_pins_a>;
	pinctrl-1 = <&gmac_pins_b>;
	pinctrl-names = "default", "sleep";
	phy-rst = <&pio PE 16 GPIO_ACTIVE_HIGH>;
	tx-delay = <3>; /*2~4*/
	rx-delay = <0>;
	status = "disabled";
};

&spi0 {
	clock-frequency = <100000000>;
	pinctrl-0 = <&spi0_pins_a &spi0_pins_b>;
	pinctrl-1 = <&spi0_pins_c>;
	pinctrl-names = "default", "sleep";
	/*spi-supply = <&reg_dcdc1>;*/
	spi_slave_mode = <0>;
	spi0_cs_number = <1>;
    spi0_cs_bitmap = <1>;
	status = "okay";

	spi-nand@0 {
		compatible = "spi-nand";
		spi-max-frequency=<100000000>;
		reg = <0x0>;
		spi-rx-bus-width=<0x04>;
		spi-tx-bus-width=<0x04>;
		status="okay";
	};

	spi-nor@0 {
		compatible = "jedec,spi-nor";
		spi-max-frequency=<30000000>;
		reg = <0x0>;
		spi-rx-bus-width=<0x01>;
		spi-tx-bus-width=<0x01>;
		status="disabled";
	};
};

&spi1 {
	clock-frequency = <100000000>;
	pinctrl-0 = <&spi1_pins_a &spi1_pins_b>;
	pinctrl-1 = <&spi1_pins_c>;
	pinctrl-names = "default", "sleep";
	spi_slave_mode = <0>;
	status = "disabled";

	spi_board1@0 {
		device_type = "spi_board1";
		compatible = "rohm,dh2228fv";
		spi-max-frequency = <0x5f5e100>;
		reg = <0x0>;
		spi-rx-bus-width = <0x4>;
		spi-tx-bus-width = <0x4>;
		status = "disabled";
	};
};

&ledc {
	pinctrl-names = "default", "sleep";
	pinctrl-0 = <&ledc_pins_a>;
	pinctrl-1 = <&ledc_pins_b>;
	led_count = <12>;
	output_mode = "GRB";
	reset_ns = <84>;
	t1h_ns = <800>;
	t1l_ns = <320>;
	t0h_ns = <300>;
	t0l_ns = <800>;
	wait_time0_ns = <84>;
	wait_time1_ns = <84>;
	wait_data_time_ns = <600000>;
	status	= "disabled";
};

&keyboard0 {
	key0 = <210 0x160>;
	wakeup-source;
	status = "disabled";
};

/*----------------------------------------------------------------------------------
disp init configuration

disp_mode             (0:screen0<screen0,fb0>)
screenx_output_type   (0:none; 1:lcd; 2:tv; 5:vdpo)
fbx format            (4:RGB655 5:RGB565 6:RGB556 7:ARGB1555 8:RGBA5551 9:RGB888 10:ARGB8888 12:ARGB4444)
fbx pixel sequence    (0:ARGB 1:BGRA 2:ABGR 3:RGBA)
fb0_scaler_mode_enable(scaler mode enable, used FE)
fbx_width,fbx_height  (framebuffer horizontal/vertical pixels, fix to output resolution while equal 0)
lcdx_backlight        (lcd init backlight,the range:[0,256],default:197
lcdx_yy               (lcd init screen bright/contrast/saturation/hue, value:0~100, default:50/50/57/50)
lcd0_contrast         (LCD contrast, 0~100)
lcd0_saturation       (LCD saturation, 0~100)
lcd0_hue              (LCD hue, 0~100)
framebuffer software rotation setting:
disp_rotation_used:   (0:disable; 1:enable,you must set fbX_width to lcd_y,
set fbX_height to lcd_x)
degreeX:              (X:screen index; 0:0 degree; 1:90 degree; 3:270 degree)
degreeX_Y:            (X:screen index; Y:layer index 0~15; 0:0 degree; 1:90 degree; 3:270 degree)
devX_output_type : config output type in bootGUI framework in UBOOT-2018.
				   (0:none; 1:lcd; 2:tv;)
devX_output_mode : config output resolution(see include/video/sunxi_display2.h) of bootGUI framework in UBOOT-2018
devX_screen_id   : config display index of bootGUI framework in UBOOT-2018
devX_do_hpd      : whether do hpd detectation or not in UBOOT-2018
chn_cfg_mode     : Hardware DE channel allocation config. 0:single display with 6
				   channel, 1:dual display with 4 channel in main display and 2 channel in second
                   display, 2:dual display with 3 channel in main display and 3 channel in second
                   in display.
----------------------------------------------------------------------------------*/
&disp {
	disp_init_enable         = <1>;
	disp_mode                = <0>;

	screen0_output_type      = <1>;
	screen0_output_mode      = <4>;

	screen1_output_type      = <3>;
	screen1_output_mode      = <4>;
	
	screen1_output_format    = <0>;
	screen1_output_bits      = <0>;
	screen1_output_eotf      = <4>;
	screen1_output_cs        = <257>;
	screen1_output_range     = <2>;
	screen1_output_scan      = <0>;
	screen1_output_aspect_ratio = <8>;
	dev0_output_type         = <1>;
	dev0_output_mode         = <4>;
	dev0_screen_id           = <0>;
	dev0_do_hpd              = <0>;

	dev1_output_type         = <4>;
	dev1_output_mode         = <10>;
	dev1_screen_id           = <1>;
	dev1_do_hpd              = <1>;

	def_output_dev           = <0>;
	disp_rotation_used		 = <1>;
	degree0					 = <0>;
	fb0_format               = <0>;
	fb0_buffer_num           = <1>;
	/*fb0_width                = <800>;*/
	/*fb0_height               = <480>;*/  /*read from lcd*/
	fb1_format               = <0>;
	fb1_width                = <0>;
	fb1_height               = <0>;
	chn_cfg_mode             = <1>;

	disp_para_zone           = <1>;
	/*VCC-LCD*/
/*	dc1sw-supply = <&reg_dc1sw>;*/
	/*VCC-DSI*/
/*	eldo3-supply = <&reg_eldo3>;*/
	/*VCC-PD*/
/*	dcdc1-supply = <&reg_dcdc1>;*/
};

&tv0 {
  interface       = <1>;
  dac_type0       = <0>;
  dac_src0        = <0>;

  status =  "okay";
};

/*----------------------------------------------------------------------------------
;lcd0 configuration

;lcd_if:               0:hv(sync+de); 1:8080; 2:ttl; 3:lvds; 4:dsi; 5:edp; 6:extend dsi
;lcd_hv_if             0:Parallel RGB; 8:Serial RGB; 10:Dummy RGB; 11: RGB Dummy;12:CCIR656
;lcd_hv_clk_phase      0:0 degree;1:90 degree;2:180 degree;3:270 degree
;lcd_hv_sync_polarity  0:vs low,hs low; 1:vs high,hslow; 2:vs low,hs high; 3:vs high,hs high
;lcd_hv_syuv_seq       0:YUYV; 1:YVYU; 2:UYVY; 3:VYUY
;lcd_cpu_if            0:18bit/1 cycle parallel(RGB666); 4:16bit/1cycle parallel (RGB565)
;                      6:18bit/3 cycle parallel(RGB666); 7:16bit/2cycle parallel (RGB565)
;lcd_cpu_te            0:frame auto trigger; 1:frame triggered by te rising edge; 2:frame triggered by te falling edge;
;lcd_dsi_if            0:video mode; 1: Command mode; 2:video burst mode
;lcd_dsi_te            0:frame auto trigger; 1:frame triggered by te rising edge; 2:frame triggered by te falling edge;
;lcd_x:                lcd horizontal resolution
;lcd_y:                lcd vertical resolution
;lcd_width:            width of lcd in mm
;lcd_height:           height of lcd in mm
;lcd_dclk_freq:        in MHZ unit
;lcd_pwm_freq:         in HZ unit
;lcd_pwm_pol:          lcd backlight PWM polarity
;lcd_pwm_max_limit     lcd backlight PWM max limit(<=255)
;lcd_hbp:              hsync back porch(pixel) + hsync plus width(pixel);
;lcd_ht:               hsync total cycle(pixel)
;lcd_vbp:              vsync back porch(line) + vysnc plus width(line)
;lcd_vt:               vysnc total cycle(line)
;lcd_hspw:             hsync plus width(pixel)
;lcd_vspw:             vysnc plus width(pixel)
;lcd_lvds_if:          0:single link;  1:dual link
;lcd_lvds_colordepth:  0:8bit; 1:6bit
;lcd_lvds_mode:        0:NS mode; 1:JEIDA mode
;lcd_frm:              0:disable; 1:enable rgb666 dither; 2:enable rgb656 dither
;lcd_io_phase:         0:noraml; 1:intert phase(0~3bit: vsync phase; 4~7bit:hsync phase;
;                      8~11bit:dclk phase; 12~15bit:de phase)
;lcd_gamma_en          lcd gamma correction enable
;lcd_bright_curve_en   lcd bright curve correction enable
;lcd_cmap_en           lcd color map function enable
;deu_mode              0:smoll lcd screen; 1:large lcd screen(larger than 10inch)
;lcdgamma4iep:         Smart Backlight parameter, lcd gamma vale * 10;
;                      decrease it while lcd is not bright enough; increase while lcd is too bright
;smart_color           90:normal lcd screen 65:retina lcd screen(9.7inch)
;Pin setting for special function ie.LVDS, RGB data or vsync
;   name(donot care) = port:PD12<pin function><pull up or pull down><drive ability><output level>
;Pin setting for gpio:
;   lcd_gpio_X     = port:PD12<pin function><pull up or pull down><drive ability><output level>
;Pin setting for backlight enable pin
;   lcd_bl_en     = port:PD12<pin function><pull up or pull down><drive ability><output level>
;fsync setting, pulse to csi
;lcd_fsync_en          (0:disable fsync,1:enable)
;lcd_fsync_act_time    (active time of fsync, unit:pixel)
;lcd_fsync_dis_time    (disactive time of fsync, unit:pixel)
;lcd_fsync_pol         (0:positive;1:negative)
;gpio config: <&pio for cpu or &r_pio for cpus, port, port num, pio function,
pull up or pull down(default 0), driver level(default 1), data>
;For dual link lvds: use lvds2link_pins_a  and lvds2link_pins_b instead
;For rgb24: use rgb24_pins_a  and rgb24_pins_b instead
;For lvds1: use lvds1_pins_a  and lvds1_pins_b instead
;For lvds0: use lvds0_pins_a  and lvds0_pins_b instead
;----------------------------------------------------------------------------------*/
/*RGB 800 480 */
&lcd0 {
	lcd_used            = <1>;

	lcd_driver_name     = "default_lcd";
	lcd_backlight       = <50>;
	lcd_if              = <0>;

	lcd_x               = <1024>;
	lcd_y               = <600>;
	lcd_width           = <150>;
	lcd_height          = <94>;
	lcd_dclk_freq       = <48>;

	lcd_pwm_used        = <1>;
	lcd_pwm_ch          = <7>;
	lcd_pwm_freq        = <500>;
	lcd_pwm_pol         = <0>;

	lcd_hbp             = <55>;
	lcd_ht              = <1240>;
	lcd_hspw            = <20>;
	lcd_vbp             = <35>;
	lcd_vt              = <650>;
	lcd_vspw            = <10>;

	lcd_lvds_if         = <0>;
	lcd_lvds_colordepth = <1>;
	lcd_lvds_mode       = <0>;
	lcd_frm             = <0>;
	lcd_io_phase        = <0x0000>;
	lcd_gamma_en        = <0>;
	lcd_bright_curve_en = <0>;
	lcd_cmap_en         = <0>;

	deu_mode            = <0>;
	lcdgamma4iep        = <22>;
	smart_color         = <90>;

	pinctrl-0 = <&rgb18_pins_a>;
	pinctrl-1 = <&rgb18_pins_b>;
};

/* LVDS 1280 800 */
/*
&lcd0 {
	lcd_used            = <1>;
	lcd_driver_name     = "default_lcd";
	lcd_backlight       = <50>;
	lcd_if              = <3>;

	lcd_x               = <1280>;
	lcd_y               = <800>;
	lcd_width           = <150>;
	lcd_height          = <94>;
	lcd_dclk_freq       = <71>;
	lcd_rb_swap			= <0>;
	
	lcd_pwm_used        = <1>;
	lcd_pwm_ch          = <7>;
	lcd_pwm_freq        = <50000>;
	lcd_pwm_pol         = <0>;
	lcd_pwm_max_limit   = <255>;

	lcd_hbp             = <20>;
	lcd_ht              = <1418>;
	lcd_hspw            = <10>;
	lcd_vbp             = <10>;
	lcd_vt              = <814>;
	lcd_vspw            = <5>;

	lcd_lvds_if         = <0>;
	lcd_lvds_colordepth = <1>;
	lcd_lvds_mode       = <0>;
	lcd_frm             = <1>;
	lcd_io_phase        = <0x0000>;
	lcd_hv_clk_phase	= <0>;
	lcd_hv_sync_polarity = <0>;
	lcd_gamma_en        = <0>;
	lcd_bright_curve_en = <0>;
	lcd_cmap_en         = <0>;
	lcd_fsync_act_time  = <1000>;
	lcd_fsync_dis_time  = <1000>;
	
	deu_mode            = <0>;
	lcdgamma4iep        = <22>;
	smart_color         = <90>;

	pinctrl-0 = <&lvds0_pins_a>;
	pinctrl-1 = <&lvds0_pins_b>;
	lcd_bl_en = <&pio PD 20 GPIO_ACTIVE_HIGH>;
};
*/

/* MIPI 800 1280 */
/*
&lcd0 {
	lcd_used            = <1>;
	lcd_driver_name     = "he0801a068";
	lcd_backlight       = <50>;
	lcd_if              = <4>;

	lcd_x               = <800>;
	lcd_y               = <1280>;
	lcd_width           = <52>;
	lcd_height          = <52>;
	lcd_dclk_freq       = <78>;

	lcd_pwm_used        = <1>;
	lcd_pwm_ch          = <7>;
	lcd_pwm_freq        = <50000>;
	lcd_pwm_pol         = <0>;
	lcd_pwm_max_limit   = <255>;

	lcd_hbp             = <149>;
	lcd_ht              = <978>;
	lcd_hspw            = <16>;
	lcd_vbp             = <7>;
	lcd_vt              = <1329>;
	lcd_vspw            = <5>;

	lcd_dsi_lane        = <4>;
	lcd_lvds_if         = <0>;
	lcd_lvds_colordepth = <1>;
	lcd_lvds_mode       = <0>;
	lcd_frm             = <0>;
	lcd_io_phase        = <0x0000>;
	lcd_gamma_en        = <0>;
	lcd_bright_curve_en = <0>;
	lcd_cmap_en         = <0>;
	lcd_fsync_act_time  = <1000>;
	lcd_fsync_dis_time  = <1000>;
	
	deu_mode            = <0>;
	lcdgamma4iep        = <22>;
	smart_color         = <90>;

	pinctrl-0 = <&dsi4lane_pins_a>;
	pinctrl-1 = <&dsi4lane_pins_b>;
	lcd_gpio_0 = <&pio PD 20 GPIO_ACTIVE_HIGH>;	
};
*/

&pwm0 {
	pinctrl-names = "active", "sleep";
	pinctrl-0 = <&pwm0_pin_a>;
	pinctrl-1 = <&pwm0_pin_b>;
	status = "disabled";
};

&pwm2 {
	pinctrl-names = "active", "sleep";
	pinctrl-0 = <&pwm2_pin_a>;
	pinctrl-1 = <&pwm2_pin_b>;
	status = "disabled";
};

&pwm3 {
	pinctrl-names = "active", "sleep";
	pinctrl-0 = <&pwm3_pin_a>;
	pinctrl-1 = <&pwm3_pin_b>;
	status = "okay";
};


&pwm7 {
	pinctrl-names = "active", "sleep";
	pinctrl-0 = <&pwm7_pin_a>;
	pinctrl-1 = <&pwm7_pin_b>;
	status = "okay";
};

&rtp {
	allwinner,tp-sensitive-adjust = <0xf>;
	allwinner,filter-type = <0x1>;
	allwinner,ts-attached;
	status = "disabled";
};

&tpadc {
	key_cnt = <5>;
	key1 = <420 115>;
	key2 = <870 114>;
	key3 = <1290 119>;
	key4 = <1630 373>;
	key5 = <1950 28>;
	status = "disabled";
};

&gpadc {
	channel_num = <1>;
	channel_select = <0x01>;
	channel_data_select = <0>;
	channel_compare_select = <0x01>;
	channel_cld_select = <0x01>;
	channel_chd_select = <0>;
	channel0_compare_lowdata = <1600000>;
	channel0_compare_higdata = <1200000>;
	channel1_compare_lowdata = <460000>;
	channel1_compare_higdata = <1200000>;
	key_cnt = <5>;
	key0_vol = <210>;
	key0_val = <0x19c>;
	key1_vol = <410>;
	key1_val = <0x197>;
	key2_vol = <590>;
	key2_val = <158>;
	key3_vol = <750>;
	key3_val = <28>;
	key4_vol = <880>;
	key4_val = <28>;
	status = "disabled";
	wakeup-source;
};

&s_cir0 {
	pinctrl-names = "default", "sleep";
	pinctrl-0 = <&s_cir0_pins_a>;
	pinctrl-1 = <&s_cir0_pins_b>;
	ir_protocol_used		= <0>;
	ir_addr_code0			= <0x0>;
	status = "disabled";
};

&ir1 {
	pinctrl-names = "default", "sleep";
	pinctrl-0 = <&ir1_pins_a>;
	pinctrl-1 = <&ir1_pins_b>;
	status = "disabled";
};
